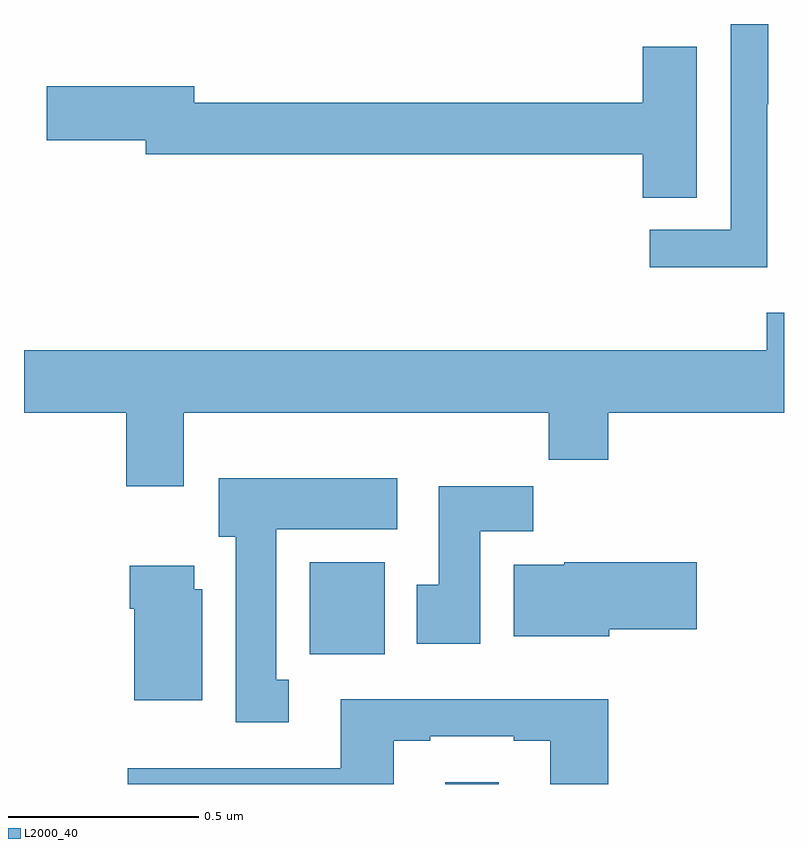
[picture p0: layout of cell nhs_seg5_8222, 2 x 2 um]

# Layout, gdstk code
import gdstk
lib = gdstk.Library(unit=1e-6, precision=1e-09)
def R(c, l, rs):  # rectangles x0, y0, x1, y1
    for r in rs: c.add(gdstk.rectangle(r[:2], r[2:], *l))
def P(c, l, *ps):  # polygons
    for p in ps: c.add(gdstk.Polygon(p, *l))
L2000_40 = (2000, 40)

nhs_seg5_8222 = lib.new_cell('nhs_seg5_8222')
R(nhs_seg5_8222, L2000_40, [(220.109,839.799,220.249,839.803), (219.752,840.14,219.949,840.382)])
P(nhs_seg5_8222, L2000_40, [(220.956,841.588),(220.959,841.588),(220.959,841.799),(220.86,841.799),(220.86,841.257),(220.647,841.257),(220.647,841.159),(220.956,841.159)],
  [(220.771,841.739),(220.628,841.739),(220.628,841.592),(219.448,841.592),(219.448,841.635),(219.06,841.635),(219.06,841.493),(219.32,841.493),(219.32,841.456),(220.628,841.456),(220.628,841.342),(220.771,841.342)],
  [(219,840.776),(219.269,840.776),(219.269,840.582),(219.421,840.582),(219.421,840.776),(220.381,840.776),(220.381,840.652),(220.538,840.652),(220.538,840.776),(221,840.776),(221,841.039),(220.955,841.039),(220.955,840.94),(219,840.94)],
  [(219.697,840.074),(219.664,840.074),(219.664,840.47),(219.982,840.47),(219.982,840.604),(219.512,840.604),(219.512,840.45),(219.557,840.45),(219.557,839.961),(219.697,839.961)],
  [(220.201,840.464),(220.34,840.464),(220.34,840.583),(220.091,840.583),(220.091,840.324),(220.034,840.324),(220.034,840.168),(220.201,840.168)],
  [(220.54,840.206),(220.771,840.206),(220.771,840.382),(220.422,840.382),(220.422,840.376),(220.289,840.376),(220.289,840.188),(220.54,840.188)],
  [(219.469,840.312),(219.448,840.312),(219.448,840.373),(219.278,840.373),(219.278,840.26),(219.29,840.26),(219.29,840.02),(219.469,840.02)],
  [(219.973,839.913),(220.069,839.913),(220.069,839.925),(220.289,839.925),(220.289,839.913),(220.385,839.913),(220.385,839.799),(220.538,839.799),(220.538,840.022),(219.833,840.022),(219.833,839.841),(219.273,839.841),(219.273,839.799),(219.973,839.799)])

lib.write_gds('nhs_seg5_8222.gds')
